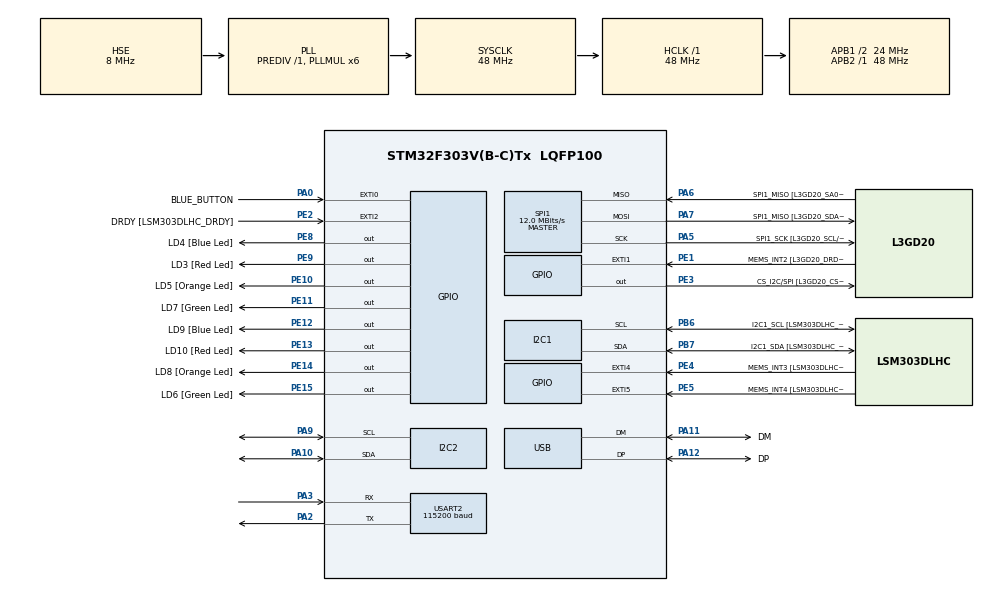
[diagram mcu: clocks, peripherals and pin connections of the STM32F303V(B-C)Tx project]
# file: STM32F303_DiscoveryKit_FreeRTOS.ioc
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FREERTOS.CountingSemaphores01=myCountingSem01,2,Dynamic,NULL,0
FREERTOS.Mutexes01=myMutex01,Dynamic,NULL,Available
FREERTOS.Tasks01=Task1,24,256,StartTask1,Default,NULL,Dynamic,NULL,NULL;Task2,24,256,StartTask2,Default,NULL,Dynamic,NULL,NULL
FREERTOS.configTOTAL_HEAP_SIZE=4096
FREERTOS.configUSE_NEWLIB_REENTRANT=1
I2C1.Timing=0x00201D2B
I2C1.Timing-I2C=0x2000090E
I2C2.Timing=0x00201D2B
Mcu.Family=STM32F3
Mcu.Name=STM32F303V(B-C)Tx
Mcu.Package=LQFP100
NVIC.EXTI0_IRQn=true\:5\:0\:true\:false\:true\:true\:true\:true\:true
NVIC.PriorityGroup=NVIC_PRIORITYGROUP_4
NVIC.TIM6_DAC_IRQn=true\:15\:0\:false\:false\:true\:false\:false\:true\:true
NVIC.TimeBase=TIM6_DAC_IRQn
NVIC.TimeBaseIP=TIM6
NVIC.USART2_IRQn=true\:5\:0\:false\:false\:true\:true\:true\:true\:true
PA0.GPIO_Label=BLUE_BUTTON
PA0.Signal=GPXTI0
PA10.Mode=I2C
PA10.Signal=I2C2_SDA
PA11.GPIO_Label=DM
PA11.Mode=Device
PA11.Signal=USB_DM
PA12.GPIO_Label=DP
PA12.Mode=Device
PA12.Signal=USB_DP
PA13.GPIO_Label=SWDIO
PA13.Mode=Trace_Asynchronous_SW
PA13.Signal=SYS_JTMS-SWDIO
PA14.GPIO_Label=SWCLK
PA14.Mode=Trace_Asynchronous_SW
PA14.Signal=SYS_JTCK-SWCLK
PA2.Mode=Asynchronous
PA2.Signal=USART2_TX
PA3.Mode=Asynchronous
PA3.Signal=USART2_RX
PA5.GPIO_Label=SPI1_SCK [L3GD20_SCL/SPC]
PA5.Mode=Full_Duplex_Master
PA5.Signal=SPI1_SCK
PA6.GPIO_Label=SPI1_MISO [L3GD20_SA0/SDO]
PA6.Mode=Full_Duplex_Master
PA6.Signal=SPI1_MISO
PA7.GPIO_Label=SPI1_MISO [L3GD20_SDA/SDI/SDO]
PA7.Mode=Full_Duplex_Master
PA7.Signal=SPI1_MOSI
PA9.Mode=I2C
PA9.Signal=I2C2_SCL
PB3.GPIO_Label=SWO
PB3.Mode=Trace_Asynchronous_SW
PB3.Signal=SYS_JTDO-TRACESWO
PB6.GPIO_Label=I2C1_SCL [LSM303DLHC_SCL]
PB6.GPIO_Pu=GPIO_PULLUP
PB6.Mode=I2C
PB6.Signal=I2C1_SCL
PB7.GPIO_Label=I2C1_SDA [LSM303DLHC_SDA]
PB7.GPIO_Pu=GPIO_PULLUP
PB7.Mode=I2C
PB7.Signal=I2C1_SDA
PC14-OSC32_IN.GPIO_Label=OSC32_IN
PC14-OSC32_IN.Signal=RCC_OSC32_IN
PC15-OSC32_OUT.GPIO_Label=OSC32_OUT
PC15-OSC32_OUT.Signal=RCC_OSC32_OUT
PE1.GPIO_Label=MEMS_INT2 [L3GD20_DRDY/INT2]
PE1.GPIO_ModeDefaultEXTI=GPIO_MODE_EVT_RISING
PE1.Signal=GPXTI1
PE10.GPIO_Label=LD5 [Orange Led]
PE10.Signal=GPIO_Output
PE11.GPIO_Label=LD7 [Green Led]
PE11.Signal=GPIO_Output
PE12.GPIO_Label=LD9 [Blue Led]
PE12.Signal=GPIO_Output
PE13.GPIO_Label=LD10 [Red Led]
PE13.Signal=GPIO_Output
PE14.GPIO_Label=LD8 [Orange Led]
PE14.Signal=GPIO_Output
PE15.GPIO_Label=LD6 [Green Led]
PE15.Signal=GPIO_Output
PE2.GPIO_Label=DRDY [LSM303DLHC_DRDY]
PE2.GPIO_ModeDefaultEXTI=GPIO_MODE_EVT_RISING
PE2.Signal=GPXTI2
PE3.GPIO_Label=CS_I2C/SPI [L3GD20_CS_I2C/SPI]
PE3.Signal=GPIO_Output
PE4.GPIO_Label=MEMS_INT3 [LSM303DLHC_INT1]
PE4.GPIO_ModeDefaultEXTI=GPIO_MODE_EVT_RISING
PE4.Signal=GPXTI4
PE5.GPIO_Label=MEMS_INT4 [LSM303DLHC_INT2]
PE5.GPIO_ModeDefaultEXTI=GPIO_MODE_EVT_RISING
PE5.Signal=GPXTI5
PE8.GPIO_Label=LD4 [Blue Led]
PE8.Signal=GPIO_Output
PE9.GPIO_Label=LD3 [Red Led]
PE9.Signal=GPIO_Output
PF0-OSC_IN.GPIO_Label=OSC_IN
PF0-OSC_IN.Mode=HSE-External-Clock-Source
PF0-OSC_IN.Signal=RCC_OSC_IN
PF1-OSC_OUT.GPIO_Label=OSC_OUT
PF1-OSC_OUT.Signal=RCC_OSC_OUT
ProjectManager.HeapSize=0x200
ProjectManager.StackSize=0x400
ProjectManager.TargetToolchain=STM32CubeIDE
RCC.AHBFreq_Value=48000000
RCC.APB1CLKDivider=RCC_HCLK_DIV2
RCC.APB1Freq_Value=24000000
RCC.APB1TimFreq_Value=48000000
RCC.APB2Freq_Value=48000000
RCC.APB2TimFreq_Value=48000000
RCC.CortexFreq_Value=48000000
RCC.EnbaleCSS=true
RCC.HCLKFreq_Value=48000000
RCC.HSE_VALUE=8000000
RCC.HSI_VALUE=8000000
RCC.LSE_VALUE=32768
RCC.PLLMUL=RCC_PLL_MUL6
RCC.SYSCLKFreq_VALUE=48000000
RCC.SYSCLKSourceVirtual=RCC_SYSCLKSOURCE_PLLCLK
RCC.USBFreq_Value=48000000
SPI1.BaudRatePrescaler=SPI_BAUDRATEPRESCALER_4
SPI1.BaudRatePrescaler-Full_Duplex_Master=SPI_BAUDRATEPRESCALER_2
SPI1.CalculateBaudRate=12.0 MBits/s
SPI1.CalculateBaudRate-Full_Duplex_Master=24.0 MBits/s
SPI1.Direction=SPI_DIRECTION_2LINES
SPI1.Mode=SPI_MODE_MASTER
SPI1.Mode-Full_Duplex_Master=SPI_MODE_MASTER
SPI1.VirtualType=VM_MASTER
USART2.BaudRate=115200
USART2.VirtualMode-Asynchronous=VM_ASYNC
VP_FREERTOS_VS_CMSIS_V2.Mode=CMSIS_V2
VP_SYS_VS_tim6.Mode=TIM6
board=STM32F3DISCOVERY

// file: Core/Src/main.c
/* USER CODE BEGIN Header */
/**
  ******************************************************************************
  * @file           : main.c
  * @brief          : Main program body
  ******************************************************************************
  * @attention
  *
  * Copyright (c) 2025 STMicroelectronics.
  * All rights reserved.
  *
  * This software is licensed under terms that can be found in the LICENSE file
  * in the root directory of this software component.
  * If no LICENSE file comes with this software, it is provided AS-IS.
  *
  ******************************************************************************
  */
/* USER CODE END Header */
#include "main.h"
#include "cmsis_os.h"

I2C_HandleTypeDef hi2c1;
I2C_HandleTypeDef hi2c2;

SPI_HandleTypeDef hspi1;

UART_HandleTypeDef huart2;

PCD_HandleTypeDef hpcd_USB_FS;

/* Definitions for Task1 */
osThreadId_t Task1Handle;
const osThreadAttr_t Task1_attributes = {
  .name = "Task1",
  .stack_size = 256 * 4,
  .priority = (osPriority_t) osPriorityNormal,
};
/* Definitions for Task2 */
osThreadId_t Task2Handle;
const osThreadAttr_t Task2_attributes = {
  .name = "Task2",
  .stack_size = 256 * 4,
  .priority = (osPriority_t) osPriorityNormal,
};
/* Definitions for myMutex01 */
osMutexId_t myMutex01Handle;
const osMutexAttr_t myMutex01_attributes = {
  .name = "myMutex01"
};
/* Definitions for myCountingSem01 */
osSemaphoreId_t myCountingSem01Handle;
const osSemaphoreAttr_t myCountingSem01_attributes = {
  .name = "myCountingSem01"
};
/* USER CODE BEGIN PV */
osStatus_t r1_State;

typedef struct
{
  uint16_t Configuration;
  uint8_t Source;
} MyData;

osEventFlagsId_t EventGroup1;

/* USER CODE END PV */

void SystemClock_Config(void);
static void MX_GPIO_Init(void);
static void MX_I2C1_Init(void);
static void MX_SPI1_Init(void);
static void MX_USB_PCD_Init(void);
static void MX_I2C2_Init(void);
static void MX_USART2_UART_Init(void);
void StartTask1(void *argument);
void StartTask2(void *argument);

/* USER CODE BEGIN PFP */
void Task_action(char message);
/* USER CODE END PFP */

int main(void)
{

  /* MCU Configuration--------------------------------------------------------*/

  /* Reset of all peripherals, Initializes the Flash interface and the Systick. */
  HAL_Init();

  /* Configure the system clock */
  SystemClock_Config();

  /* Initialize all configured peripherals */
  MX_GPIO_Init();
  MX_I2C1_Init();
  MX_SPI1_Init();
  MX_USB_PCD_Init();
  MX_I2C2_Init();
  MX_USART2_UART_Init();

  /* Init scheduler */
  osKernelInitialize();
  /* Create the mutex(es) */
  /* creation of myMutex01 */
  myMutex01Handle = osMutexNew(&myMutex01_attributes);

  /* Create the semaphores(s) */
  /* creation of myCountingSem01 */
  myCountingSem01Handle = osSemaphoreNew(2, 0, &myCountingSem01_attributes);

  /* Create the thread(s) */
  /* creation of Task1 */
  Task1Handle = osThreadNew(StartTask1, NULL, &Task1_attributes);

  /* creation of Task2 */
  Task2Handle = osThreadNew(StartTask2, NULL, &Task2_attributes);

  /* USER CODE BEGIN RTOS_THREADS */
  EventGroup1 = osEventFlagsNew(NULL);
  /* USER CODE END RTOS_THREADS */

  /* Start scheduler */
  osKernelStart();

  /* We should never get here as control is now taken by the scheduler */

  /* Infinite loop */
  while (1)
  {

  }
}

void SystemClock_Config(void)
{
  RCC_OscInitTypeDef RCC_OscInitStruct = {0};
  RCC_ClkInitTypeDef RCC_ClkInitStruct = {0};
  RCC_PeriphCLKInitTypeDef PeriphClkInit = {0};

  /** Initializes the RCC Oscillators according to the specified parameters
  * in the RCC_OscInitTypeDef structure.
  */
  RCC_OscInitStruct.OscillatorType = RCC_OSCILLATORTYPE_HSI|RCC_OSCILLATORTYPE_HSE;
  RCC_OscInitStruct.HSEState = RCC_HSE_BYPASS;
  RCC_OscInitStruct.HSEPredivValue = RCC_HSE_PREDIV_DIV1;
  RCC_OscInitStruct.HSIState = RCC_HSI_ON;
  RCC_OscInitStruct.HSICalibrationValue = RCC_HSICALIBRATION_DEFAULT;
  RCC_OscInitStruct.PLL.PLLState = RCC_PLL_ON;
  RCC_OscInitStruct.PLL.PLLSource = RCC_PLLSOURCE_HSE;
  RCC_OscInitStruct.PLL.PLLMUL = RCC_PLL_MUL6;
  if (HAL_RCC_OscConfig(&RCC_OscInitStruct) != HAL_OK)
  {
    Error_Handler();
  }

  /** Initializes the CPU, AHB and APB buses clocks
  */
  RCC_ClkInitStruct.ClockType = RCC_CLOCKTYPE_HCLK|RCC_CLOCKTYPE_SYSCLK
                              |RCC_CLOCKTYPE_PCLK1|RCC_CLOCKTYPE_PCLK2;
  RCC_ClkInitStruct.SYSCLKSource = RCC_SYSCLKSOURCE_PLLCLK;
  RCC_ClkInitStruct.AHBCLKDivider = RCC_SYSCLK_DIV1;
  RCC_ClkInitStruct.APB1CLKDivider = RCC_HCLK_DIV2;
  RCC_ClkInitStruct.APB2CLKDivider = RCC_HCLK_DIV1;

  if (HAL_RCC_ClockConfig(&RCC_ClkInitStruct, FLASH_LATENCY_1) != HAL_OK)
  {
    Error_Handler();
  }
  PeriphClkInit.PeriphClockSelection = RCC_PERIPHCLK_USB|RCC_PERIPHCLK_USART2
                              |RCC_PERIPHCLK_I2C1|RCC_PERIPHCLK_I2C2;
  PeriphClkInit.Usart2ClockSelection = RCC_USART2CLKSOURCE_PCLK1;
  PeriphClkInit.I2c1ClockSelection = RCC_I2C1CLKSOURCE_HSI;
  PeriphClkInit.I2c2ClockSelection = RCC_I2C2CLKSOURCE_HSI;
  PeriphClkInit.USBClockSelection = RCC_USBCLKSOURCE_PLL;
  if (HAL_RCCEx_PeriphCLKConfig(&PeriphClkInit) != HAL_OK)
  {
    Error_Handler();
  }

  /** Enables the Clock Security System
  */
  HAL_RCC_EnableCSS();
}

static void MX_I2C1_Init(void)
{

  hi2c1.Instance = I2C1;
  hi2c1.Init.Timing = 0x00201D2B;
  hi2c1.Init.OwnAddress1 = 0;
  hi2c1.Init.AddressingMode = I2C_ADDRESSINGMODE_7BIT;
  hi2c1.Init.DualAddressMode = I2C_DUALADDRESS_DISABLE;
  hi2c1.Init.OwnAddress2 = 0;
  hi2c1.Init.OwnAddress2Masks = I2C_OA2_NOMASK;
  hi2c1.Init.GeneralCallMode = I2C_GENERALCALL_DISABLE;
  hi2c1.Init.NoStretchMode = I2C_NOSTRETCH_DISABLE;
  if (HAL_I2C_Init(&hi2c1) != HAL_OK)
  {
    Error_Handler();
  }

  /** Configure Analogue filter
  */
  if (HAL_I2CEx_ConfigAnalogFilter(&hi2c1, I2C_ANALOGFILTER_ENABLE) != HAL_OK)
  {
    Error_Handler();
  }

  /** Configure Digital filter
  */
  if (HAL_I2CEx_ConfigDigitalFilter(&hi2c1, 0) != HAL_OK)
  {
    Error_Handler();
  }

}

static void MX_I2C2_Init(void)
{

  hi2c2.Instance = I2C2;
  hi2c2.Init.Timing = 0x00201D2B;
  hi2c2.Init.OwnAddress1 = 0;
  hi2c2.Init.AddressingMode = I2C_ADDRESSINGMODE_7BIT;
  hi2c2.Init.DualAddressMode = I2C_DUALADDRESS_DISABLE;
  hi2c2.Init.OwnAddress2 = 0;
  hi2c2.Init.OwnAddress2Masks = I2C_OA2_NOMASK;
  hi2c2.Init.GeneralCallMode = I2C_GENERALCALL_DISABLE;
  hi2c2.Init.NoStretchMode = I2C_NOSTRETCH_DISABLE;
  if (HAL_I2C_Init(&hi2c2) != HAL_OK)
  {
    Error_Handler();
  }

  /** Configure Analogue filter
  */
  if (HAL_I2CEx_ConfigAnalogFilter(&hi2c2, I2C_ANALOGFILTER_ENABLE) != HAL_OK)
  {
    Error_Handler();
  }

  /** Configure Digital filter
  */
  if (HAL_I2CEx_ConfigDigitalFilter(&hi2c2, 0) != HAL_OK)
  {
    Error_Handler();
  }

}

static void MX_SPI1_Init(void)
{

  /* SPI1 parameter configuration*/
  hspi1.Instance = SPI1;
  hspi1.Init.Mode = SPI_MODE_MASTER;
  hspi1.Init.Direction = SPI_DIRECTION_2LINES;
  hspi1.Init.DataSize = SPI_DATASIZE_4BIT;
  hspi1.Init.CLKPolarity = SPI_POLARITY_LOW;
  hspi1.Init.CLKPhase = SPI_PHASE_1EDGE;
  hspi1.Init.NSS = SPI_NSS_SOFT;
  hspi1.Init.BaudRatePrescaler = SPI_BAUDRATEPRESCALER_4;
  hspi1.Init.FirstBit = SPI_FIRSTBIT_MSB;
  hspi1.Init.TIMode = SPI_TIMODE_DISABLE;
  hspi1.Init.CRCCalculation = SPI_CRCCALCULATION_DISABLE;
  hspi1.Init.CRCPolynomial = 7;
  hspi1.Init.CRCLength = SPI_CRC_LENGTH_DATASIZE;
  hspi1.Init.NSSPMode = SPI_NSS_PULSE_ENABLE;
  if (HAL_SPI_Init(&hspi1) != HAL_OK)
  {
    Error_Handler();
  }

}

static void MX_USART2_UART_Init(void)
{

  huart2.Instance = USART2;
  huart2.Init.BaudRate = 115200;
  huart2.Init.WordLength = UART_WORDLENGTH_8B;
  huart2.Init.StopBits = UART_STOPBITS_1;
  huart2.Init.Parity = UART_PARITY_NONE;
  huart2.Init.Mode = UART_MODE_TX_RX;
  huart2.Init.HwFlowCtl = UART_HWCONTROL_NONE;
  huart2.Init.OverSampling = UART_OVERSAMPLING_16;
  huart2.Init.OneBitSampling = UART_ONE_BIT_SAMPLE_DISABLE;
  huart2.AdvancedInit.AdvFeatureInit = UART_ADVFEATURE_NO_INIT;
  if (HAL_UART_Init(&huart2) != HAL_OK)
  {
    Error_Handler();
  }

}

static void MX_USB_PCD_Init(void)
{

  hpcd_USB_FS.Instance = USB;
  hpcd_USB_FS.Init.dev_endpoints = 8;
  hpcd_USB_FS.Init.speed = PCD_SPEED_FULL;
  hpcd_USB_FS.Init.phy_itface = PCD_PHY_EMBEDDED;
  hpcd_USB_FS.Init.low_power_enable = DISABLE;
  hpcd_USB_FS.Init.battery_charging_enable = DISABLE;
  if (HAL_PCD_Init(&hpcd_USB_FS) != HAL_OK)
  {
    Error_Handler();
  }

}

static void MX_GPIO_Init(void)
{
  GPIO_InitTypeDef GPIO_InitStruct = {0};

  /* GPIO Ports Clock Enable */
  __HAL_RCC_GPIOE_CLK_ENABLE();
  __HAL_RCC_GPIOC_CLK_ENABLE();
  __HAL_RCC_GPIOF_CLK_ENABLE();
  __HAL_RCC_GPIOA_CLK_ENABLE();
  __HAL_RCC_GPIOB_CLK_ENABLE();

  /*Configure GPIO pin Output Level */
  HAL_GPIO_WritePin(GPIOE, CS_I2C_SPI_Pin|LD4_Pin|LD3_Pin|LD5_Pin
                          |LD7_Pin|LD9_Pin|LD10_Pin|LD8_Pin
                          |LD6_Pin, GPIO_PIN_RESET);

  /*Configure GPIO pins : DRDY_Pin MEMS_INT3_Pin MEMS_INT4_Pin MEMS_INT2_Pin */
  GPIO_InitStruct.Pin = DRDY_Pin|MEMS_INT3_Pin|MEMS_INT4_Pin|MEMS_INT2_Pin;
  GPIO_InitStruct.Mode = GPIO_MODE_EVT_RISING;
  GPIO_InitStruct.Pull = GPIO_NOPULL;
  HAL_GPIO_Init(GPIOE, &GPIO_InitStruct);

  /*Configure GPIO pins : CS_I2C_SPI_Pin LD4_Pin LD3_Pin LD5_Pin
                           LD7_Pin LD9_Pin LD10_Pin LD8_Pin
                           LD6_Pin */
  GPIO_InitStruct.Pin = CS_I2C_SPI_Pin|LD4_Pin|LD3_Pin|LD5_Pin
                          |LD7_Pin|LD9_Pin|LD10_Pin|LD8_Pin
                          |LD6_Pin;
  GPIO_InitStruct.Mode = GPIO_MODE_OUTPUT_PP;
  GPIO_InitStruct.Pull = GPIO_NOPULL;
  GPIO_InitStruct.Speed = GPIO_SPEED_FREQ_LOW;
  HAL_GPIO_Init(GPIOE, &GPIO_InitStruct);

  /*Configure GPIO pin : BLUE_BUTTON_Pin */
  GPIO_InitStruct.Pin = BLUE_BUTTON_Pin;
  GPIO_InitStruct.Mode = GPIO_MODE_IT_RISING;
  GPIO_InitStruct.Pull = GPIO_NOPULL;
  HAL_GPIO_Init(BLUE_BUTTON_GPIO_Port, &GPIO_InitStruct);

  /* EXTI interrupt init*/
  HAL_NVIC_SetPriority(EXTI0_IRQn, 5, 0);
  HAL_NVIC_EnableIRQ(EXTI0_IRQn);

}

/* USER CODE BEGIN 4 */
void Task_action(char message)
{
  ITM_SendChar(message);
  ITM_SendChar('\n');
}

void HAL_GPIO_EXTI_Callback(uint16_t GPIO_Pin)
{
  osThreadFlagsSet(Task1Handle, 0x01);
  Task_action('!');
}
/* USER CODE END 4 */

void StartTask1(void *argument)
{
  /* USER CODE BEGIN 5 */

  /* Infinite loop */
  for(;;)
  {
      osMutexAcquire(myMutex01Handle,osWaitForever);
      Task_action('1');
      HAL_GPIO_TogglePin(LD3_GPIO_Port, LD3_Pin);
      osDelay(1000);
      osMutexRelease(myMutex01Handle);
      osDelay(100);
  }
  /* USER CODE END 5 */
}

void StartTask2(void *argument)
{
  /* USER CODE BEGIN StartTask2 */
  /* Infinite loop */
  for(;;)
  {
      osMutexAcquire(myMutex01Handle,osWaitForever);
      Task_action('2');
      HAL_GPIO_TogglePin(LD3_GPIO_Port, LD3_Pin);
      osDelay(1000);
      osMutexRelease(myMutex01Handle);
      osDelay(100);
  }
  /* USER CODE END StartTask2 */
}

void HAL_TIM_PeriodElapsedCallback(TIM_HandleTypeDef *htim)
{
  if (htim->Instance == TIM6)
  {
    HAL_IncTick();
  }
}

void Error_Handler(void)
{
  __disable_irq();
  while (1)
  {
  }
}
